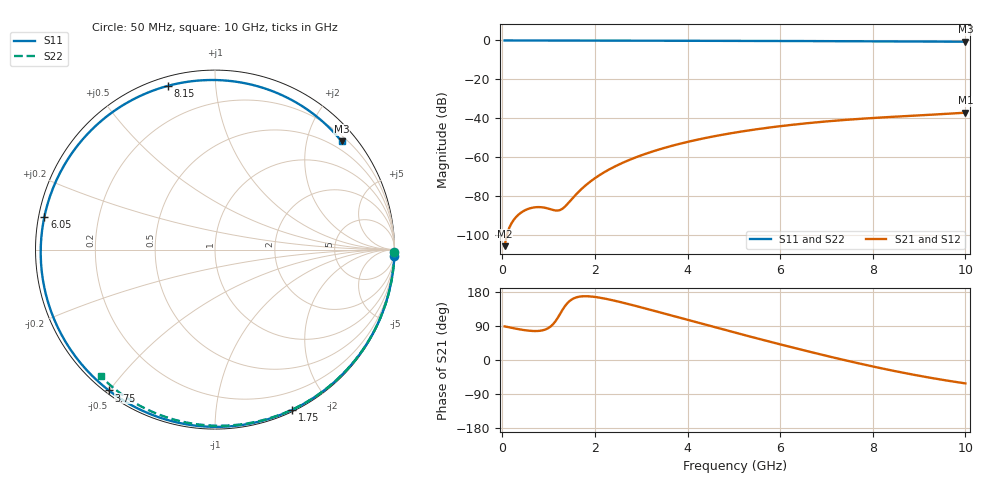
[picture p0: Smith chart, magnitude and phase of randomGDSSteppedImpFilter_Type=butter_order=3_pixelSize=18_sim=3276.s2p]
! freq	dB(S11)	phase(S11)	dB(S12)	phase(S12)
!  dB(S21)	phase(S21)	dB(S22)	phase(S22)
!S-par simulation data
#  GHz  S  DB  R 50
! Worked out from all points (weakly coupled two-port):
!   200 points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, 50 MHz to 10 GHz, reference 50 ohm
!   highest |S21| = -37.21 dB at 10 GHz (marker M1); lowest = -106.0 dB at 50 MHz (marker M2)
!   lowest |S11| = -0.6 dB at 10 GHz (marker M3), VSWR 26.77, Z = 15.4 + j134 ohm
!   |S11| at or under -10 dB: nowhere
!   |S22| runs from -0.4 to 0.0 dB; largest |S21 - S12| = 0
!   S11 on the Smith chart (normalised r, x): 50 MHz: 0, -60; 1.75 GHz: 0.02, -1.59; 3.75 GHz: 0.01, -0.50; 6.05 GHz: 0.02, +0.10; 8.15 GHz: 0.04, +0.75; 10 GHz: 0.31, +2.68
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0.05  -0.00 -1.9  -105.98 88.7  -105.98 88.7  -0.00 -0.8
0.4  -0.02 -15.2  -88.78 80.3  -88.78 80.3  -0.01 -6.1
0.75  -0.04 -28.3  -85.86 76.5  -85.86 76.5  -0.01 -11.4
1.55  -0.07 -57.2  -80.42 163.0  -80.42 163.0  -0.03 -23.4
1.75  -0.08 -64.2  -75.67 168.2  -75.67 168.2  -0.03 -26.3
2.05  -0.09 -74.4  -70.15 165.6  -70.15 165.6  -0.04 -30.7
2.45  -0.11 -87.5  -64.70 155.8  -64.70 155.8  -0.05 -36.6
2.9  -0.12 -101.7  -60.06 142.1  -60.06 142.1  -0.06 -43.1
3.4  -0.14 -116.8  -56.05 125.8  -56.05 125.8  -0.07 -50.1
3.75  -0.15 -127.0  -53.73 114.2  -53.73 114.2  -0.07 -55.0
4.4  -0.18 -145.4  -50.18 92.7  -50.18 92.7  -0.09 -63.9
5.05  -0.22 -163.3  -47.35 71.5  -47.35 71.5  -0.11 -72.5
5.55  -0.25 -177.1  -45.56 55.5  -45.56 55.5  -0.13 -79.0
6.05  -0.28 169.1  -44.02 39.8  -44.02 39.8  -0.15 -85.4
6.7  -0.33 150.7  -42.36 19.9  -42.36 19.9  -0.18 -93.5
7.4  -0.39 129.9  -40.94 -0.6  -40.94 -0.6  -0.22 -101.9
8.15  -0.45 106.1  -39.73 -21.0  -39.73 -21.0  -0.27 -110.8
8.35  -0.47 99.5  -39.45 -26.1  -39.45 -26.1  -0.29 -113.1
8.75  -0.50 85.9  -38.91 -35.8  -38.91 -35.8  -0.32 -117.8
9.15  -0.54 71.8  -38.40 -44.9  -38.40 -44.9  -0.36 -122.3
9.55  -0.59 57.2  -37.87 -53.2  -37.87 -53.2  -0.40 -126.9
10  -0.65 40.5  -37.21 -61.7  -37.21 -61.7  -0.45 -132.0
